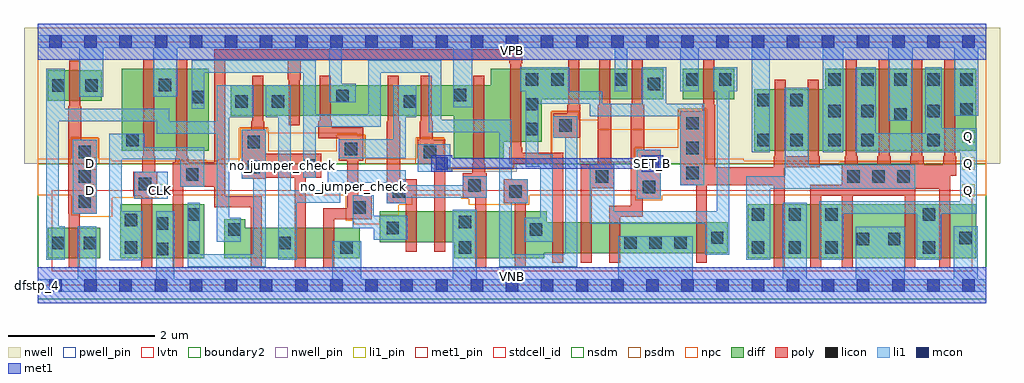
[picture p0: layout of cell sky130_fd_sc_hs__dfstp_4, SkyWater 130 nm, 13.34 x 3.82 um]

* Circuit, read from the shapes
.subckt sky130_fd_sc_hs__dfstp_4 CLK D Q SET_B VGND VNB VPB VPWR
XM1 VGND D n1 VNB sky130_fd_pr__nfet_01v8_lvt w=0.42 l=0.15
XM2 VGND CLK n2 VNB sky130_fd_pr__nfet_01v8_lvt w=0.74 l=0.15
XM3 n3 n2 VGND VNB sky130_fd_pr__nfet_01v8_lvt w=0.74 l=0.15
XM4 n4 n2 n1 VNB sky130_fd_pr__nfet_01v8_lvt w=0.42 l=0.15
XM5 n5 n3 n4 VNB sky130_fd_pr__nfet_01v8_lvt w=0.42 l=0.15
XM6 VGND n6 n5 VNB sky130_fd_pr__nfet_01v8_lvt w=0.42 l=0.15
XM7 n7 n4 n6 VNB sky130_fd_pr__nfet_01v8_lvt w=0.42 l=0.15
XM8 VGND SET_B n7 VNB sky130_fd_pr__nfet_01v8_lvt w=0.42 l=0.15
XM9 n8 n4 VGND VNB sky130_fd_pr__nfet_01v8_lvt w=0.64 l=0.15
XM10 n9 n3 n8 VNB sky130_fd_pr__nfet_01v8_lvt w=0.64 l=0.15
XM11 n10 n2 n9 VNB sky130_fd_pr__nfet_01v8_lvt w=0.42 l=0.15
XM12 n11 n12 n10 VNB sky130_fd_pr__nfet_01v8_lvt w=0.42 l=0.15
XM13 VGND SET_B n11 VNB sky130_fd_pr__nfet_01v8_lvt w=0.42 l=0.15
XM14 n12 n9 VGND VNB sky130_fd_pr__nfet_01v8_lvt w=0.42 l=0.15
XM15 VGND n9 n13 VNB sky130_fd_pr__nfet_01v8_lvt w=0.74 l=0.15
XM16 Q n13 VGND VNB sky130_fd_pr__nfet_01v8_lvt w=0.74 l=0.15 m=4
XM17 VPWR D n1 VPB sky130_fd_pr__pfet_01v8 w=0.42 l=0.15
XM18 VPWR CLK n2 VPB sky130_fd_pr__pfet_01v8 w=1.12 l=0.15
XM19 n3 n2 VPWR VPB sky130_fd_pr__pfet_01v8 w=1.12 l=0.15
XM20 n4 n3 n1 VPB sky130_fd_pr__pfet_01v8 w=0.42 l=0.15
XM21 n14 n2 n4 VPB sky130_fd_pr__pfet_01v8 w=0.42 l=0.15
XM22 VPWR n6 n14 VPB sky130_fd_pr__pfet_01v8 w=0.42 l=0.15
XM23 n6 n4 VPWR VPB sky130_fd_pr__pfet_01v8 w=0.42 l=0.15
XM24 VPWR SET_B n6 VPB sky130_fd_pr__pfet_01v8 w=0.42 l=0.15
XM25 n15 n4 VPWR VPB sky130_fd_pr__pfet_01v8 w=1 l=0.15
XM26 n9 n2 n15 VPB sky130_fd_pr__pfet_01v8 w=1 l=0.15
XM27 n16 n3 n9 VPB sky130_fd_pr__pfet_01v8 w=0.42 l=0.15
XM28 VPWR n12 n16 VPB sky130_fd_pr__pfet_01v8 w=0.42 l=0.15
XM29 n9 SET_B VPWR VPB sky130_fd_pr__pfet_01v8 w=0.42 l=0.15
XM30 n12 n9 VPWR VPB sky130_fd_pr__pfet_01v8 w=0.42 l=0.15
XM31 n13 n9 VPWR VPB sky130_fd_pr__pfet_01v8 w=0.84 l=0.15 m=2
XM32 Q n13 VPWR VPB sky130_fd_pr__pfet_01v8 w=1.12 l=0.15 m=4
.ends

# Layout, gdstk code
import gdstk
lib = gdstk.Library(unit=1e-6, precision=1e-09)
def R(c, l, rs):  # rectangles x0, y0, x1, y1
    for r in rs: c.add(gdstk.rectangle(r[:2], r[2:], *l))
def A(c, l, x, y, w, h, nx, ny, dx, dy):  # array of equal rectangles
    R(c, l, [(x+i*dx, y+j*dy, x+i*dx+w, y+j*dy+h) for i in range(nx) for j in range(ny)])
def P(c, l, *ps):  # polygons
    for p in ps: c.add(gdstk.Polygon(p, *l))
nwell_pin = (64, 16)
nwell = (64, 20)
diff = (65, 20)
poly = (66, 20)
licon = (66, 44)
li1_pin = (67, 16)
li1 = (67, 20)
mcon = (67, 44)
met1_pin = (68, 16)
met1 = (68, 20)
stdcell_id = (81, 4)
nsdm = (93, 44)
psdm = (94, 20)
npc = (95, 20)
pwell_pin = (122, 16)
lvtn = (125, 44)
boundary2 = (236, 0)

sky130_fd_sc_hs__dfstp_4 = lib.new_cell('sky130_fd_sc_hs__dfstp_4')
R(sky130_fd_sc_hs__dfstp_4, nwell_pin, [(0,3.085,12.96,3.33)])
P(sky130_fd_sc_hs__dfstp_4, nwell, [(13.15,3.52),(-0.19,3.52),(-0.19,1.66),(5.505,1.66),(5.505,1.555),(6.545,1.555),(6.545,1.66),(13.15,1.66)])
R(sky130_fd_sc_hs__dfstp_4, diff, [(0.135,0.37,0.855,0.79), (1.125,0.37,2.275,1.11), (9.7,0.37,12.825,1.11), (1.145,1.84,2.335,2.96), (0.135,2.52,0.875,2.94), (8.815,2.54,9.52,2.96)])
P(sky130_fd_sc_hs__dfstp_4, diff, [(4.4,0.79),(2.835,0.79),(2.835,0.905),(2.545,0.905),(2.545,0.37),(4.4,0.37)],
  [(8.545,2.96),(6.19,2.96),(6.19,2.735),(2.635,2.735),(2.635,2.315),(5.685,2.315),(5.685,1.735),(6.365,1.735),(6.365,1.96),(6.885,1.96),(6.885,2.54),(8.545,2.54)],
  [(9.43,0.86),(6.955,0.86),(6.955,1.01),(4.67,1.01),(4.67,0.59),(5.69,0.59),(5.69,0.37),(6.92,0.37),(6.92,0.44),(9.43,0.44)],
  [(12.825,2.96),(10.76,2.96),(10.76,2.68),(9.79,2.68),(9.79,1.84),(12.825,1.84)])
P(sky130_fd_sc_hs__dfstp_4, poly, [(12.555,1.765),(12.54,1.765),(12.54,3.09),(12.39,3.09),(12.39,1.765),(12.375,1.765),(12.375,1.65),(12.105,1.65),(12.105,1.765),(12.09,1.765),(12.09,3.09),(11.94,3.09),(11.94,1.765),(11.925,1.765),(11.925,1.65),(11.655,1.65),(11.655,1.765),(11.64,1.765),(11.64,3.09),(11.49,3.09),(11.49,1.765),(11.475,1.765),(11.475,1.65),(11.205,1.65),(11.205,1.765),(11.19,1.765),(11.19,3.09),(11.04,3.09),(11.04,1.765),(11.025,1.765),(11.025,1.65),(10.985,1.65),(10.985,1.375),(10.555,1.375),(10.555,0.24),(10.705,0.24),(10.705,1.225),(10.985,1.225),(10.985,0.24),(11.135,0.24),(11.135,1.225),(11.845,1.225),(11.845,0.24),(11.995,0.24),(11.995,1.32),(12.32,1.32),(12.32,0.24),(12.47,0.24),(12.47,1.5),(12.555,1.5)],
  [(10.685,1.765),(10.67,1.765),(10.67,2.81),(10.52,2.81),(10.52,1.765),(10.22,1.765),(10.22,2.81),(10.07,2.81),(10.07,1.765),(10.055,1.765),(10.055,1.615),(9.26,1.615),(9.26,2.465),(9.245,2.465),(9.245,3.09),(9.095,3.09),(9.095,2.465),(9.08,2.465),(9.08,2.38),(8.78,2.38),(8.78,1.37),(8.995,1.37),(8.995,0.31),(9.145,0.31),(9.145,1.37),(10.055,1.37),(10.055,0.24),(10.205,0.24),(10.205,1.615),(10.685,1.615)],
  [(8.515,1.85),(8.285,1.85),(8.285,2.465),(8.27,2.465),(8.27,3.09),(8.12,3.09),(8.12,2.465),(8.105,2.465),(8.105,1.085),(7.81,1.085),(7.81,0.31),(7.96,0.31),(7.96,0.935),(8.265,0.935),(8.265,1.18),(8.515,1.18)],
  [(7.875,1.655),(7.835,1.655),(7.835,2.465),(7.82,2.465),(7.82,3.09),(7.67,3.09),(7.67,2.465),(7.655,2.465),(7.655,1.655),(7.42,1.655),(7.42,0.31),(7.57,0.31),(7.57,1.325),(7.875,1.325)],
  [(7.415,2.465),(7.4,2.465),(7.4,3.09),(7.25,3.09),(7.25,2.465),(7.235,2.465),(7.235,2.35),(7.045,2.35),(7.045,2.02),(7.415,2.02)],
  [(7.18,1.81),(6.62,1.81),(6.62,1.885),(6.605,1.885),(6.605,3.035),(6.62,3.035),(6.62,3.225),(2.41,3.225),(2.41,1.68),(2.055,1.68),(2.055,1.765),(2.04,1.765),(2.04,3.09),(1.89,3.09),(1.89,1.765),(1.875,1.765),(1.875,1.68),(1.84,1.68),(1.84,0.24),(1.99,0.24),(1.99,1.35),(2.41,1.35),(2.41,1.065),(2.91,1.065),(2.91,0.24),(3.06,0.24),(3.06,1.215),(2.56,1.215),(2.56,3.075),(3.415,3.075),(3.415,2.81),(3.43,2.81),(3.43,2.185),(3.58,2.185),(3.58,2.81),(3.595,2.81),(3.595,3.075),(6.44,3.075),(6.44,3.035),(6.455,3.035),(6.455,1.885),(6.44,1.885),(6.44,1.66),(7.03,1.66),(7.03,0.31),(7.18,0.31)],
  [(6.695,1.45),(6.365,1.45),(6.365,1.12),(6.52,1.12),(6.52,0.24),(6.67,0.24),(6.67,1.12),(6.695,1.12)],
  [(6.135,1.53),(6.115,1.53),(6.115,1.66),(6.1,1.66),(6.1,2.865),(5.95,2.865),(5.95,1.66),(5.935,1.66),(5.935,1.53),(5.805,1.53),(5.805,1.2),(5.975,1.2),(5.975,0.24),(6.125,0.24),(6.125,1.2),(6.135,1.2)],
  [(5.565,1.99),(5.4,1.99),(5.4,2.24),(5.385,2.24),(5.385,2.865),(5.235,2.865),(5.235,2.24),(5.22,2.24),(5.22,1.99),(5.195,1.99),(5.195,1.66),(5.415,1.66),(5.415,0.46),(5.565,0.46)],
  [(5.175,1.45),(4.95,1.45),(4.95,2.24),(4.935,2.24),(4.935,2.865),(4.785,2.865),(4.785,2.24),(4.77,2.24),(4.77,1.12),(5.025,1.12),(5.025,0.46),(5.175,0.46)],
  [(4.56,1.23),(4.38,1.23),(4.38,1.7),(4.445,1.7),(4.445,2.16),(4.015,2.16),(4.015,2.24),(4,2.24),(4,2.865),(3.85,2.865),(3.85,2.24),(3.835,2.24),(3.835,2.01),(4.115,2.01),(4.115,1.7),(4.23,1.7),(4.23,1.05),(3.9,1.05),(3.9,0.24),(4.05,0.24),(4.05,0.9),(4.56,0.9)],
  [(3.875,1.8),(3.115,1.8),(3.115,2.125),(3.095,2.125),(3.095,2.24),(3.08,2.24),(3.08,2.865),(2.93,2.865),(2.93,2.24),(2.915,2.24),(2.915,2.125),(2.785,2.125),(2.785,1.455),(3.115,1.455),(3.115,1.47),(3.51,1.47),(3.51,0.24),(3.66,0.24),(3.66,1.47),(3.875,1.47)],
  [(1.63,1.55),(1.605,1.55),(1.605,1.765),(1.59,1.765),(1.59,3.09),(1.44,3.09),(1.44,1.765),(1.425,1.765),(1.425,1.55),(1.3,1.55),(1.3,1.22),(1.41,1.22),(1.41,0.24),(1.56,0.24),(1.56,1.22),(1.63,1.22)],
  [(0.805,1.99),(0.595,1.99),(0.595,2.445),(0.58,2.445),(0.58,3.07),(0.43,3.07),(0.43,2.445),(0.415,2.445),(0.415,0.98),(0.42,0.98),(0.42,0.24),(0.57,0.24),(0.57,0.98),(0.805,0.98)])
A(sky130_fd_sc_hs__dfstp_4, licon, 9.76, 0.43, 0.17, 0.17, 3, 2, 0.5, 0.45)
A(sky130_fd_sc_hs__dfstp_4, licon, 0.555, 1.06, 0.17, 0.17, 1, 3, 0, 0.34)
A(sky130_fd_sc_hs__dfstp_4, licon, 11.065, 1.4, 0.17, 0.17, 3, 1, 0.34, 0)
A(sky130_fd_sc_hs__dfstp_4, licon, 8.86, 1.45, 0.17, 0.17, 1, 3, 0, 0.34)
A(sky130_fd_sc_hs__dfstp_4, licon, 6.67, 2.05, 0.17, 0.17, 1, 3, 0, 0.34)
A(sky130_fd_sc_hs__dfstp_4, licon, 10.805, 2.73, 0.17, 0.17, 5, 1, 0.45, 0)
R(sky130_fd_sc_hs__dfstp_4, licon, [(1.615,0.41,1.785,0.58), (1.185,0.43,1.355,0.6), (2.045,0.43,2.215,0.6), (4.135,0.43,4.305,0.6), (5.75,0.43,5.92,0.6), (12.095,0.43,12.265,0.6), (0.195,0.495,0.365,0.665), (0.625,0.495,0.795,0.665), (3.285,0.495,3.455,0.665), (8.015,0.5,8.185,0.67), (8.355,0.5,8.525,0.67), (8.7,0.5,8.87,0.67), (11.19,0.55,11.36,0.72), (11.62,0.55,11.79,0.72), (12.595,0.56,12.765,0.73), (9.2,0.565,9.37,0.735), (2.605,0.675,2.775,0.845), (6.725,0.675,6.895,0.845), (4.765,0.7,4.935,0.87), (1.615,0.76,1.785,0.93), (5.75,0.78,5.92,0.95), (1.185,0.805,1.355,0.975), (2.045,0.88,2.215,1.05), (12.095,0.88,12.265,1.05), (4.31,0.98,4.48,1.15), (4.85,1.2,5.02,1.37), (6.445,1.2,6.615,1.37), (8.265,1.26,8.435,1.43), (5.885,1.28,6.055,1.45), (1.38,1.3,1.55,1.47), (7.625,1.405,7.795,1.575), (2.025,1.43,2.195,1.6), (2.865,1.535,3.035,1.705), (3.625,1.55,3.795,1.72), (8.265,1.6,8.435,1.77), (5.275,1.74,5.445,1.91), (4.195,1.78,4.365,1.95), (2.865,1.875,3.035,2.045), (1.205,1.9,1.375,2.07), (9.835,1.9,10.005,2.07), (10.285,1.9,10.455,2.07), (10.805,1.9,10.975,2.07), (11.255,1.9,11.425,2.07), (12.155,1.9,12.325,2.07), (7.125,2.1,7.295,2.27), (11.705,2.25,11.875,2.42), (10.805,2.3,10.975,2.47), (11.255,2.3,11.425,2.47), (12.155,2.3,12.325,2.47), (12.605,2.32,12.775,2.49), (2.695,2.43,2.865,2.6), (3.195,2.43,3.365,2.6), (5,2.43,5.17,2.6), (9.835,2.45,10.005,2.62), (10.285,2.45,10.455,2.62), (2.105,2.49,2.275,2.66), (4.08,2.505,4.25,2.675), (5.685,2.515,5.855,2.685), (0.195,2.645,0.365,2.815), (0.645,2.645,0.815,2.815), (1.655,2.655,1.825,2.825), (8.335,2.665,8.505,2.835), (7.015,2.73,7.185,2.9), (7.885,2.73,8.055,2.9), (8.86,2.73,9.03,2.9), (9.31,2.73,9.48,2.9)])
A(sky130_fd_sc_hs__dfstp_4, li1_pin, 12.635, 1.21, 0.17, 0.17, 1, 3, 0, 0.37)
R(sky130_fd_sc_hs__dfstp_4, li1_pin, [(0.635,1.21,0.805,1.38), (1.595,1.21,1.765,1.38), (0.635,1.58,0.805,1.75)])
R(sky130_fd_sc_hs__dfstp_4, li1, [(0.475,0.98,0.805,1.99), (1.315,1.18,1.775,1.55), (8.185,1.18,8.515,1.85), (5.195,1.55,5.635,1.925)])
P(sky130_fd_sc_hs__dfstp_4, li1, [(8.78,2.65),(8.78,3.245),(8.055,3.245),(8.055,2.65),(7.885,2.65),(7.885,3.245),(5.94,3.245),(5.94,2.435),(5.68,2.435),(5.68,3.245),(4.155,3.245),(4.155,2.755),(4.345,2.755),(4.345,2.505),(3.985,2.505),(3.985,3.245),(1.905,3.245),(1.905,2.58),(1.575,2.58),(1.575,3.245),(0.895,3.245),(0.895,2.58),(0.565,2.58),(0.565,3.245),(0,3.245),(0,3.415),(12.96,3.415),(12.96,3.245),(12.855,3.245),(12.855,2.32),(12.525,2.32),(12.525,3.245),(11.955,3.245),(11.955,2.25),(11.625,2.25),(11.625,3.245),(11.005,3.245),(11.005,1.82),(10.725,1.82),(10.725,3.245),(10.005,3.245),(10.005,1.82),(9.755,1.82),(9.755,3.245),(9.03,3.245),(9.03,2.65)],
  [(7.935,0.085),(7.935,0.67),(8.95,0.67),(8.95,0.085),(10.18,0.085),(10.18,1.13),(10.51,1.13),(10.51,0.085),(11.18,0.085),(11.18,0.8),(11.845,0.8),(11.845,0.085),(12.515,0.085),(12.515,0.81),(12.845,0.81),(12.845,0.085),(12.96,0.085),(12.96,-0.085),(0,-0.085),(0,0.085),(0.545,0.085),(0.545,0.81),(0.795,0.81),(0.795,0.085),(1.615,0.085),(1.615,1.01),(1.865,1.01),(1.865,0.085),(4.025,0.085),(4.025,0.6),(4.42,0.6),(4.42,0.085),(5.67,0.085),(5.67,1.03),(6,1.03),(6,0.085)],
  [(0.365,2.41),(1.795,2.41),(1.795,2.24),(2.445,2.24),(2.445,2.735),(2.945,2.735),(2.945,2.295),(2.615,2.295),(2.615,0.925),(2.775,0.925),(2.775,0.595),(2.445,0.595),(2.445,2.07),(1.625,2.07),(1.625,2.24),(0.285,2.24),(0.285,0.81),(0.365,0.81),(0.365,0.35),(0.115,0.35),(0.115,2.96),(0.365,2.96)],
  [(7.545,0.84),(7.545,1.655),(7.875,1.655),(7.875,1.01),(9.28,1.01),(9.28,2.65),(9.23,2.65),(9.23,2.98),(9.56,2.98),(9.56,2.65),(9.45,2.65),(9.45,0.42),(9.12,0.42),(9.12,0.84)],
  [(7.545,2.31),(7.545,2.48),(6.84,2.48),(6.84,1.79),(7.035,1.79),(7.035,0.595),(6.645,0.595),(6.645,0.925),(6.865,0.925),(6.865,1.62),(6.67,1.62),(6.67,2.65),(6.59,2.65),(6.59,2.98),(7.265,2.98),(7.265,2.65),(7.715,2.65),(7.715,2.48),(8.255,2.48),(8.255,2.98),(8.585,2.98),(8.585,2.48),(9.11,2.48),(9.11,1.37),(8.78,1.37),(8.78,2.31)],
  [(3.285,2.295),(3.115,2.295),(3.115,2.735),(3.455,2.735),(3.455,1.3),(3.965,1.3),(3.965,1.57),(5.025,1.57),(5.025,1.37),(5.805,1.37),(5.805,1.49),(6.135,1.49),(6.135,1.2),(5.025,1.2),(5.025,1.12),(4.77,1.12),(4.77,1.4),(4.135,1.4),(4.135,1.13),(3.535,1.13),(3.535,0.35),(3.285,0.35)],
  [(1.455,1.89),(2.275,1.89),(2.275,1.35),(1.945,1.35),(1.945,1.72),(1.145,1.72),(1.145,1.01),(1.435,1.01),(1.435,0.34),(0.975,0.34),(0.975,2.07),(1.455,2.07)],
  [(10.535,1.65),(11.995,1.65),(11.995,1.32),(10.01,1.32),(10.01,0.35),(9.68,0.35),(9.68,1.49),(10.205,1.49),(10.205,2.7),(10.535,2.7)],
  [(6.305,2.095),(5.34,2.095),(5.34,2.905),(4.685,2.905),(4.685,2.165),(3.795,2.165),(3.795,1.47),(3.625,1.47),(3.625,2.905),(2.275,2.905),(2.275,2.41),(2.105,2.41),(2.105,3.075),(3.795,3.075),(3.795,2.335),(4.515,2.335),(4.515,3.075),(5.51,3.075),(5.51,2.265),(6.475,2.265),(6.475,1.45),(6.695,1.45),(6.695,1.12),(6.475,1.12),(6.475,0.425),(7.205,0.425),(7.205,2.02),(7.045,2.02),(7.045,2.31),(7.375,2.31),(7.375,0.255),(6.305,0.255)],
  [(4.855,1.995),(4.855,2.735),(5.17,2.735),(5.17,2.295),(5.025,2.295),(5.025,1.74),(4.115,1.74),(4.115,1.995)],
  [(2.215,0.425),(2.945,0.425),(2.945,1.455),(2.785,1.455),(2.785,2.125),(3.115,2.125),(3.115,0.255),(2.045,0.255),(2.045,1.13),(2.215,1.13)],
  [(4.305,0.78),(4.305,1.23),(4.59,1.23),(4.59,0.95),(5.05,0.95),(5.05,0.62),(4.59,0.62),(4.59,0.78)],
  [(12.835,2.15),(12.355,2.15),(12.355,2.98),(12.125,2.98),(12.125,2.08),(11.455,2.08),(11.455,2.98),(11.175,2.98),(11.175,1.82),(12.605,1.82),(12.605,1.15),(10.68,1.15),(10.68,0.35),(11.01,0.35),(11.01,0.98),(12.015,0.98),(12.015,0.35),(12.345,0.35),(12.345,0.98),(12.835,0.98)])
A(sky130_fd_sc_hs__dfstp_4, mcon, 0.155, -0.085, 0.17, 0.17, 27, 2, 0.48, 3.33)
R(sky130_fd_sc_hs__dfstp_4, mcon, [(5.435,1.58,5.605,1.75), (8.315,1.58,8.485,1.75)])
R(sky130_fd_sc_hs__dfstp_4, met1_pin, [(0,0,12.96,0.245), (8.315,1.58,8.485,1.75), (0,3.085,12.96,3.33)])
R(sky130_fd_sc_hs__dfstp_4, met1, [(0,-0.245,12.96,0.245), (0,3.085,12.96,3.575)])
P(sky130_fd_sc_hs__dfstp_4, met1, [(5.665,1.735),(8.255,1.735),(8.255,1.78),(8.545,1.78),(8.545,1.55),(8.255,1.55),(8.255,1.595),(5.665,1.595),(5.665,1.55),(5.375,1.55),(5.375,1.78),(5.665,1.78)])
R(sky130_fd_sc_hs__dfstp_4, stdcell_id, [(0,0,12.96,3.33)])
P(sky130_fd_sc_hs__dfstp_4, nsdm, [(12.96,1.66),(6.495,1.66),(6.495,1.605),(5.555,1.605),(5.555,1.66),(0,1.66),(0,-0.19),(12.96,-0.19)])
P(sky130_fd_sc_hs__dfstp_4, psdm, [(12.96,3.52),(0,3.52),(0,1.66),(0.445,1.66),(0.445,2.02),(0.835,2.02),(0.835,1.66),(1.915,1.66),(1.915,1.71),(2.305,1.71),(2.305,1.66),(2.755,1.66),(2.755,2.155),(3.145,2.155),(3.145,1.83),(4.085,1.83),(4.085,2.06),(4.475,2.06),(4.475,1.66),(5.165,1.66),(5.165,2.02),(5.555,2.02),(5.555,1.605),(6.495,1.605),(6.495,1.66),(7.015,1.66),(7.015,2.38),(7.405,2.38),(7.405,1.685),(8.155,1.685),(8.155,1.88),(8.75,1.88),(8.75,2.41),(9.14,2.41),(9.14,1.66),(10.955,1.66),(10.955,1.68),(12.025,1.68),(12.025,1.66),(12.96,1.66)])
P(sky130_fd_sc_hs__dfstp_4, npc, [(12.96,1.7),(9.65,1.7),(9.65,1.73),(9.13,1.73),(9.13,2.4),(8.76,2.4),(8.76,2.135),(7.66,2.135),(7.66,2.265),(7.395,2.265),(7.395,2.37),(7.025,2.37),(7.025,1.73),(6.505,1.73),(6.505,1.595),(5.545,1.595),(5.545,2.01),(5.175,2.01),(5.175,1.73),(4.465,1.73),(4.465,2.05),(4.36,2.05),(4.36,2.085),(3.135,2.085),(3.135,2.145),(2.765,2.145),(2.765,1.73),(2.475,1.73),(2.475,1.7),(1.005,1.7),(1.005,1.73),(0.825,1.73),(0.825,2.01),(0.455,2.01),(0.455,1.73),(0,1.73),(0,1.23),(0.455,1.23),(0.455,0.96),(0.56,0.96),(0.56,0.935),(1.015,0.935),(1.015,1.2),(1.65,1.2),(1.65,1.23),(4.21,1.23),(4.21,0.88),(4.315,0.88),(4.315,0.835),(4.675,0.835),(4.675,0.96),(4.935,0.96),(4.935,1.1),(5.12,1.1),(5.12,1.23),(5.785,1.23),(5.785,1.18),(5.89,1.18),(5.89,1.1),(6.715,1.1),(6.715,1.23),(8.165,1.23),(8.165,1.16),(8.535,1.16),(8.535,1.23),(12.96,1.23)])
R(sky130_fd_sc_hs__dfstp_4, pwell_pin, [(0,0,12.96,0.245)])
R(sky130_fd_sc_hs__dfstp_4, lvtn, [(0.19,0.19,12.77,1.3)])
R(sky130_fd_sc_hs__dfstp_4, boundary2, [(0,0,12.96,3.33)])
sky130_fd_sc_hs__dfstp_4.add(gdstk.Label('dfstp_4', (0,0), layer=83, texttype=44))
sky130_fd_sc_hs__dfstp_4.add(gdstk.Label('no_jumper_check', (4.315,1.355), layer=83, texttype=44))
sky130_fd_sc_hs__dfstp_4.add(gdstk.Label('no_jumper_check', (3.35,1.635), layer=83, texttype=44))
sky130_fd_sc_hs__dfstp_4.add(gdstk.Label('VNB', (6.48,0.123), layer=64, texttype=59))
sky130_fd_sc_hs__dfstp_4.add(gdstk.Label('VPB', (6.48,3.208), layer=64, texttype=5))
sky130_fd_sc_hs__dfstp_4.add(gdstk.Label('SET_B', (8.4,1.665), layer=68, texttype=5))
sky130_fd_sc_hs__dfstp_4.add(gdstk.Label('VPWR', (6.48,3.208), layer=68, texttype=5))
sky130_fd_sc_hs__dfstp_4.add(gdstk.Label('VGND', (6.48,0.123), layer=68, texttype=5))
sky130_fd_sc_hs__dfstp_4.add(gdstk.Label('CLK', (1.68,1.295), layer=67, texttype=5))
sky130_fd_sc_hs__dfstp_4.add(gdstk.Label('D', (0.72,1.295), layer=67, texttype=5))
sky130_fd_sc_hs__dfstp_4.add(gdstk.Label('D', (0.72,1.665), layer=67, texttype=5))
sky130_fd_sc_hs__dfstp_4.add(gdstk.Label('Q', (12.72,1.295), layer=67, texttype=5))
sky130_fd_sc_hs__dfstp_4.add(gdstk.Label('Q', (12.72,1.665), layer=67, texttype=5))
sky130_fd_sc_hs__dfstp_4.add(gdstk.Label('Q', (12.72,2.035), layer=67, texttype=5))

lib.write_gds('sky130_fd_sc_hs__dfstp_4.gds')
